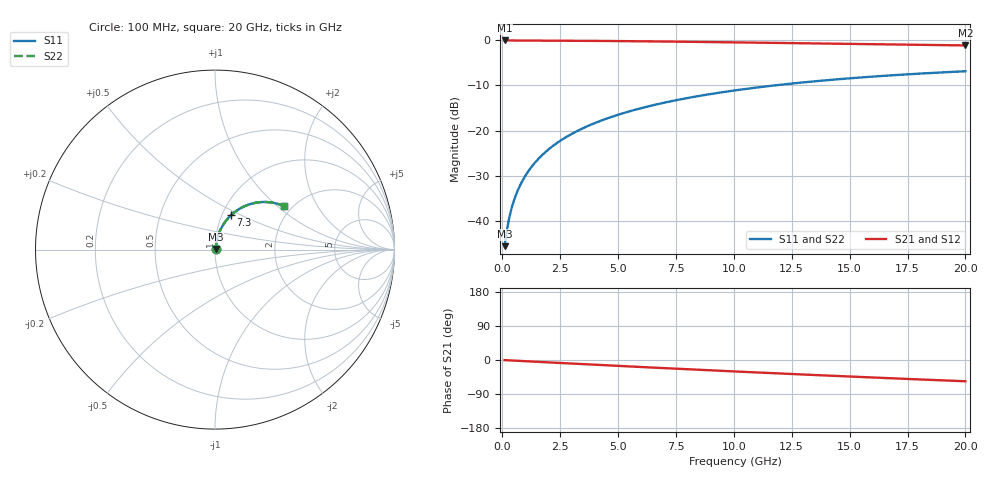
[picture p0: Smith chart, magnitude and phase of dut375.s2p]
! Touchstone file exported from HFSS 2026.1.0
!  File:  C:/ffzhzh/LocalFiles/Ansys_Project_Files/temp_train_TMRDL_375_1783004436_53980.aedt
!  Generated:  11:02:08 PM Jul  2, 2026
!  Design:  TMRDL
!  Project:  temp_train_TMRDL_375_1783004436_53980
! Variables:
!  h_bsmrdl = 2um
!  h_ox = 20um
!  h_rdl = 5um
!  h_sub = 80um
!  h_tmrdl = 3.87um
!  h_tsv = 80um
!  h_via = 3um
!  l_bsmrdl = 300um
!  l_sub = 1279.31um
!  l_tmrdl = 879.31um
!  m_sub = 200um
!  pitch = 46.42um
!  r_tsv = 6um
!  s_tmrdl = 10um
!  w_bsmrdl = 18um
!  w_sub = 500um
!  w_tmrdl = 21.22um
!  x_tsv_center1 = 889.92um
!  x_tsv_center2 = 1207.92um
!  x_tsv_center3 = 2108.45um
!  x_tsv_center4 = 2426.45um
!  x_tsv_center5 = 3326.98um
!  x_tsv_center6 = 3644.98um
# GHz S MA R 50.000000
! Terminal data exported
! Port[1] = TM_RDL1_1_T1
! Port[2] = TM_RDL1_1_T2
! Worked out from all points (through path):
!   200 points, 100 MHz to 20 GHz, reference 50 ohm
!   highest |S21| = -0.03 dB at 100 MHz (marker M1); lowest = -1.1 dB at 20 GHz (marker M2)
!   group delay of S21, straight-line fit = 7.79 ps
!   lowest |S11| = -45.6 dB at 100 MHz (marker M3), VSWR 1.01, Z = 50.4 + j0.342 ohm
!   |S11| at or under -10 dB: start of sweep to 11.76 GHz
!   |S22| runs from -45.6 to -6.9 dB; largest |S21 - S12| = 3.2e-15
!   S11 on the Smith chart (normalised r, x): 100 MHz: 1.01, +0.01; 7.3 GHz: 1.10, +0.44; 20 GHz: 1.81, +1.10
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0.1  0.005228 40.5  0.996 -0.3  0.996 -0.3  0.005228 40.5
! Gamma 0 0 0 0
! Port Impedance 50 0 50 0
0.2  0.007897 57.4  0.9958 -0.7  0.9958 -0.7  0.007897 57.4
0.3  0.0108 65.0  0.9956 -1.0  0.9956 -1.0  0.0108 65.0
0.4  0.01373 69.2  0.9953 -1.3  0.9953 -1.3  0.01373 69.2
0.5  0.01668 72.0  0.9952 -1.6  0.9952 -1.6  0.01668 72.0
0.6  0.01964 73.9  0.995 -1.9  0.995 -1.9  0.01964 73.9
0.8  0.02561 76.3  0.9947 -2.5  0.9947 -2.5  0.02561 76.3
1.1  0.03465 78.0  0.9943 -3.5  0.9943 -3.5  0.03465 78.0
1.3  0.0407 78.5  0.9939 -4.1  0.9939 -4.1  0.0407 78.5
1.6  0.04979 78.7  0.9934 -5.0  0.9934 -5.0  0.04979 78.7
2.1  0.0649 78.4  0.9922 -6.6  0.9922 -6.6  0.06489 78.4
2.7  0.08289 77.3  0.9905 -8.5  0.9905 -8.5  0.08289 77.3
3.5  0.1065 75.4  0.9876 -10.9  0.9876 -10.9  0.1065 75.4
4.2  0.1268 73.6  0.9846 -13.1  0.9846 -13.1  0.1268 73.6
5  0.1495 71.4  0.9807 -15.5  0.9807 -15.5  0.1495 71.4
6.8  0.1985 66.4  0.9706 -20.9  0.9706 -20.9  0.1984 66.4
7.3  0.2115 65.0  0.9675 -22.4  0.9675 -22.4  0.2115 65.0
8.6  0.2442 61.4  0.959 -26.1  0.959 -26.1  0.2442 61.4
10.1  0.2797 57.3  0.9485 -30.4  0.9485 -30.4  0.2797 57.3
13.4  0.3495 48.5  0.9241 -39.4  0.9241 -39.4  0.3495 48.5
16.7  0.4074 40.2  0.8998 -48.0  0.8998 -48.0  0.4074 40.2
20  0.4537 32.3  0.8774 -56.1  0.8774 -56.1  0.4537 32.3
